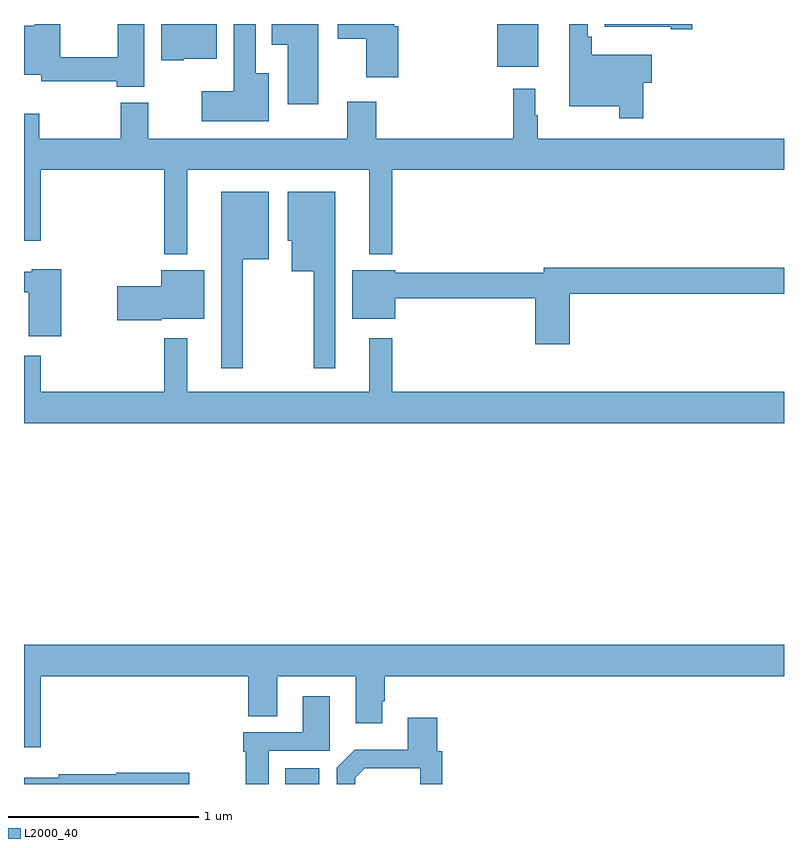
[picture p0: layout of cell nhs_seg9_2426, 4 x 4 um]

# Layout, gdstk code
import gdstk
lib = gdstk.Library(unit=1e-6, precision=1e-09)
def R(c, l, rs):  # rectangles x0, y0, x1, y1
    for r in rs: c.add(gdstk.rectangle(r[:2], r[2:], *l))
def P(c, l, *ps):  # polygons
    for p in ps: c.add(gdstk.Polygon(p, *l))
L2000_40 = (2000, 40)

nhs_seg9_2426 = lib.new_cell('nhs_seg9_2426')
R(nhs_seg9_2426, L2000_40, [(250.376,1214.5,250.555,1214.584), (251.492,1218.275,251.707,1218.5)])
P(nhs_seg9_2426, L2000_40, [(250.97,1218.488),(250.948,1218.488),(250.948,1218.5),(250.65,1218.5),(250.65,1218.423),(250.802,1218.423),(250.802,1218.219),(250.97,1218.219)],
  [(252.517,1218.5),(252.056,1218.5),(252.056,1218.485),(252.404,1218.485),(252.404,1218.473),(252.517,1218.473)],
  [(250.549,1218.5),(250.304,1218.5),(250.304,1218.392),(250.388,1218.392),(250.388,1218.078),(250.549,1218.078)],
  [(249.634,1218.5),(249.493,1218.5),(249.493,1218.326),(249.192,1218.326),(249.192,1218.5),(249.056,1218.5),(249.056,1218.49),(249,1218.49),(249,1218.233),(249.09,1218.233),(249.09,1218.198),(249.488,1218.198),(249.488,1218.17),(249.634,1218.17)],
  [(249.84,1218.317),(250.015,1218.317),(250.015,1218.5),(249.722,1218.5),(249.722,1218.308),(249.84,1218.308)],
  [(250.288,1218.241),(250.219,1218.241),(250.219,1218.5),(250.103,1218.5),(250.103,1218.145),(249.936,1218.145),(249.936,1217.987),(250.288,1217.987)],
  [(252.26,1218.19),(252.304,1218.19),(252.304,1218.337),(251.987,1218.337),(251.987,1218.433),(251.967,1218.433),(251.967,1218.5),(251.87,1218.5),(251.87,1218.068),(252.132,1218.068),(252.132,1218.003),(252.26,1218.003)],
  [(249.655,1218.085),(249.508,1218.085),(249.508,1217.896),(249.081,1217.896),(249.081,1218.028),(249,1218.028),(249,1217.358),(249.088,1217.358),(249.088,1217.732),(249.738,1217.732),(249.738,1217.288),(249.859,1217.288),(249.859,1217.732),(250.817,1217.732),(250.817,1217.288),(250.939,1217.288),(250.939,1217.732),(253,1217.732),(253,1217.896),(251.704,1217.896),(251.704,1218.02),(251.692,1218.02),(251.692,1218.16),(251.575,1218.16),(251.575,1217.896),(250.853,1217.896),(250.853,1218.091),(250.7,1218.091),(250.7,1217.896),(249.655,1217.896)],
  [(250.639,1217.617),(250.388,1217.617),(250.388,1217.358),(250.409,1217.358),(250.409,1217.198),(250.525,1217.198),(250.525,1216.689),(250.639,1216.689)],
  [(250.151,1217.261),(250.288,1217.261),(250.288,1217.617),(250.037,1217.617),(250.037,1216.689),(250.151,1216.689)],
  [(251.873,1217.08),(253,1217.08),(253,1217.216),(251.736,1217.216),(251.736,1217.192),(250.954,1217.192),(250.954,1217.203),(250.727,1217.203),(250.727,1216.949),(250.954,1216.949),(250.954,1217.056),(251.69,1217.056),(251.69,1216.815),(251.873,1216.815)],
  [(249.196,1217.209),(249.042,1217.209),(249.042,1217.197),(249,1217.197),(249,1217.088),(249.026,1217.088),(249.026,1216.857),(249.196,1216.857)],
  [(249.726,1216.949),(249.949,1216.949),(249.949,1217.203),(249.722,1217.203),(249.722,1217.12),(249.492,1217.12),(249.492,1216.942),(249.726,1216.942)],
  [(253,1216.564),(250.939,1216.564),(250.939,1216.846),(250.817,1216.846),(250.817,1216.564),(249.859,1216.564),(249.859,1216.846),(249.738,1216.846),(249.738,1216.564),(249.088,1216.564),(249.088,1216.753),(249,1216.753),(249,1216.4),(253,1216.4)],
  [(249,1214.694),(249.088,1214.694),(249.088,1215.068),(250.181,1215.068),(250.181,1214.857),(250.333,1214.857),(250.333,1215.068),(250.745,1215.068),(250.745,1214.82),(250.885,1214.82),(250.885,1214.935),(250.898,1214.935),(250.898,1215.068),(253,1215.068),(253,1215.232),(249,1215.232)],
  [(250.288,1214.676),(250.609,1214.676),(250.609,1214.962),(250.466,1214.962),(250.466,1214.772),(250.154,1214.772),(250.154,1214.669),(250.166,1214.669),(250.166,1214.5),(250.288,1214.5)],
  [(250.743,1214.532),(250.794,1214.583),(251.085,1214.583),(251.085,1214.5),(251.201,1214.5),(251.201,1214.673),(251.174,1214.673),(251.174,1214.848),(251.021,1214.848),(251.021,1214.68),(250.741,1214.68),(250.647,1214.586),(250.647,1214.5),(250.743,1214.5)],
  [(249.871,1214.558),(249.486,1214.558),(249.486,1214.552),(249.184,1214.552),(249.184,1214.533),(249,1214.533),(249,1214.5),(249.871,1214.5)])

lib.write_gds('nhs_seg9_2426.gds')
